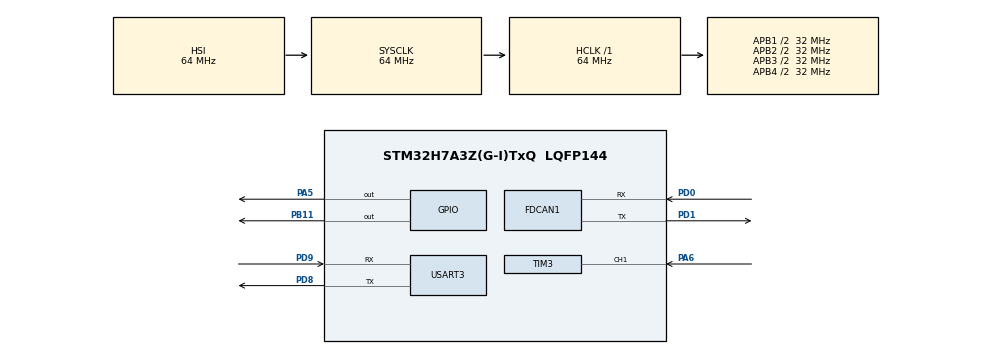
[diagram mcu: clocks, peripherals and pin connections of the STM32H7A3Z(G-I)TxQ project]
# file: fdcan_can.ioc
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FDCAN1.AutoRetransmission=ENABLE
FDCAN1.DataSyncJumpWidth=4
FDCAN1.DataTimeSeg1=5
FDCAN1.DataTimeSeg2=4
FDCAN1.FrameFormat=FDCAN_FRAME_FD_NO_BRS
FDCAN1.NominalTimeSeg1=5
FDCAN1.RxBuffersNbr=1
FDCAN1.RxFifo0ElmtsNbr=1
FDCAN1.StdFiltersNbr=1
Mcu.Family=STM32H7
Mcu.Name=STM32H7A3Z(G-I)TxQ
Mcu.Package=LQFP144
NVIC.FDCAN1_IT0_IRQn=true\:0\:0\:false\:false\:true\:true\:true
NVIC.PriorityGroup=NVIC_PRIORITYGROUP_4
NVIC.TIM3_IRQn=true\:0\:0\:false\:false\:true\:true\:true
PA5.Signal=GPIO_Output
PA6.Signal=S_TIM3_CH1
PB11.Signal=GPIO_Output
PD0.Mode=FDCAN_Activate
PD0.Signal=FDCAN1_RX
PD1.Mode=FDCAN_Activate
PD1.Signal=FDCAN1_TX
PD8.Mode=Asynchronous
PD8.Signal=USART3_TX
PD9.Mode=Asynchronous
PD9.Signal=USART3_RX
PH0-OSC_IN.Mode=HSE-External-Oscillator
PH0-OSC_IN.Signal=RCC_OSC_IN
PH1-OSC_OUT.Mode=HSE-External-Oscillator
PH1-OSC_OUT.Signal=RCC_OSC_OUT
ProjectManager.HeapSize=0x200
ProjectManager.StackSize=0x400
ProjectManager.TargetToolchain=STM32CubeIDE
RCC.ADCFreq_Value=129000000
RCC.APB1Freq_Value=32000000
RCC.APB2Freq_Value=32000000
RCC.APB3Freq_Value=32000000
RCC.APB4Freq_Value=32000000
RCC.CDPPRE=RCC_APB3_DIV2
RCC.CDPPRE1=RCC_APB1_DIV2
RCC.CDPPRE2=RCC_APB2_DIV2
RCC.CortexFreq_Value=64000000
RCC.DIVM1=4
RCC.DIVN1=8
RCC.DIVQ1=32
RCC.HCLKFreq_Value=64000000
RCC.PLLFRACN=0
RCC.SRDPPRE=RCC_APB4_DIV2
RCC.SYSCLKFreq_VALUE=64000000
RCC.USBFreq_Value=4000000
SH.S_TIM3_CH1.0=TIM3_CH1,Input_Capture1_from_TI1
TIM3.Channel-Input_Capture1_from_TI1=TIM_CHANNEL_1
TIM3.Period=0xffff-1
TIM3.Prescaler=64-1
USART3.VirtualMode-Asynchronous=VM_ASYNC
VP_TIM3_VS_ClockSourceINT.Mode=Internal
board=custom

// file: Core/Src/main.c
/* USER CODE BEGIN Header */
/**
  ******************************************************************************
  * @file           : main.c
  * @brief          : Main program body
  ******************************************************************************
  * @attention
  *
  * Copyright (c) 2023 STMicroelectronics.
  * All rights reserved.
  *
  * This software is licensed under terms that can be found in the LICENSE file
  * in the root directory of this software component.
  * If no LICENSE file comes with this software, it is provided AS-IS.
  *
  ******************************************************************************
  */
/* USER CODE END Header */
#include "main.h"
#include "fdcan.h"
#include "tim.h"
#include "usart.h"
#include "gpio.h"

/* USER CODE BEGIN Includes */
#include <stdio.h>
/* USER CODE END Includes */

/* USER CODE BEGIN PD */
#define TRIG_PIN GPIO_PIN_5
#define TRIG_PORT GPIOA
/* USER CODE END PD */

/* USER CODE BEGIN PM */
#ifdef __GNUC__
#define PUTCHAR_PROTOTYPE int __io_putchar(int ch)
#else
#define PUTCHAR_PROTOTYPE int fputc(int ch, FILE *f)
#endif
PUTCHAR_PROTOTYPE{
   HAL_UART_Transmit(&huart3, (uint8_t*)&ch, 1, 0xFFFF);
   return ch;
}
/* USER CODE END PM */

/* USER CODE BEGIN PV */
   FDCAN_FilterTypeDef sFilterConfig;
   FDCAN_TxHeaderTypeDef TxHeader;
   FDCAN_RxHeaderTypeDef RxHeader;
   uint8_t TxData_Node3_To_Node1[8];
   uint8_t TxData_Node3_To_Node2[8];
   uint8_t RxData_From_Node2[8];
   uint8_t RxData_From_Node1[8];
   uint32_t IC_Val1 = 0;
   uint32_t IC_Val2 = 0;
   uint32_t Difference = 0;
   uint8_t Is_First_Captured = 0;
   uint8_t Distance = 0;

/* USER CODE END PV */

void SystemClock_Config(void);
/* USER CODE BEGIN PFP */
void delay (uint16_t time)
{
	__HAL_TIM_SET_COUNTER(&htim3, 0);
	while (__HAL_TIM_GET_COUNTER (&htim3) < time);
}
void HAL_TIM_IC_CaptureCallback(TIM_HandleTypeDef *htim)
{
	if (htim->Channel == HAL_TIM_ACTIVE_CHANNEL_1)  // if the interrupt source is channel1
	{
		if (Is_First_Captured==0) // if the first value is not captured
		{
			IC_Val1 = HAL_TIM_ReadCapturedValue(htim, TIM_CHANNEL_1); // read the first value
			Is_First_Captured = 1;  // set the first captured as true
			// Now change the polarity to falling edge
			__HAL_TIM_SET_CAPTUREPOLARITY(htim, TIM_CHANNEL_1, TIM_INPUTCHANNELPOLARITY_FALLING);
		}

		else if (Is_First_Captured==1)   // if the first is already captured
		{
			IC_Val2 = HAL_TIM_ReadCapturedValue(htim, TIM_CHANNEL_1);  // read second value
			__HAL_TIM_SET_COUNTER(htim, 0);  // reset the counter

			if (IC_Val2 > IC_Val1)//거리 측정
			{
				Difference = IC_Val2-IC_Val1;
			}

			else if (IC_Val1 > IC_Val2)//?��버플로우�????????? 고려?�� 코드
			{
				Difference = (0xffff - IC_Val1) + IC_Val2;
			}

			Distance = Difference * .034/2;//x?��?��?�� cm�????????? ?��?��
			Is_First_Captured = 0; // set it back to false

			// set polarity to rising edge
			__HAL_TIM_SET_CAPTUREPOLARITY(htim, TIM_CHANNEL_1, TIM_INPUTCHANNELPOLARITY_RISING);//rising?���????????? ?��리거
			__HAL_TIM_DISABLE_IT(&htim3, TIM_IT_CC1);
		}
	}
}

void HCSR04_Read (void)
{
	HAL_GPIO_WritePin(TRIG_PORT, TRIG_PIN, GPIO_PIN_SET);  // pull the TRIG pin HIGH
	delay(10);  // wait for 10 us
	HAL_GPIO_WritePin(TRIG_PORT, TRIG_PIN, GPIO_PIN_RESET);  // pull the TRIG pin low

	__HAL_TIM_ENABLE_IT(&htim3, TIM_IT_CC1);
}
/* USER CODE END PFP */

/* USER CODE BEGIN 0 */
int indx1 = 0;
int indx2= 0;
int indx3 = 0;
int indx4 = 0;
void HAL_FDCAN_RxFifo0Callback(FDCAN_HandleTypeDef *hfdcan, uint32_t RxFifo0ITs)
{
//    printf("%s\r\n",);

//    HAL_Delay (1000);
   if(FDCAN1 == hfdcan->Instance){
  if((RxFifo0ITs & FDCAN_IT_RX_FIFO0_NEW_MESSAGE) != RESET)
  {

//       HAL_Delay (1000);
    /* Retreive Rx messages from RX FIFO0 */
     //?  기서?   �???? ? RX FIFO0?   ?  ?   ?  �???? ?? RxHeader ??????? 복사?   ??????? ?  ?  ?   ??????? RxData 배열 ??????? 복사?  ?  ?  .
    if (HAL_FDCAN_GetRxMessage(hfdcan, FDCAN_RX_FIFO0, &RxHeader, RxData_From_Node2) != HAL_OK)
    {
    /* Reception Error */
    Error_Handler();
    }
//    if (HAL_FDCAN_GetRxMessage(hfdcan, FDCAN_RX_FIFO0, &RxHeader, RxData_From_Node2) != HAL_OK)
//        {
//        /* Reception Error */
//        Error_Handler();
//        }
    //그런 ?  ?   ?   메시 ????????   ???   ?  림을 ?  ?   ?  ?  ?  ?  ?  ?  .
    if (HAL_FDCAN_ActivateNotification(hfdcan, FDCAN_IT_RX_FIFO0_NEW_MESSAGE, 0) != HAL_OK)
    {
      /* Notification Error */
      Error_Handler();
    }
    //FDCAN2 콜백 ??????? ?   ??????? ?  기서?   ?  ?  ?   ??????? ?  ?  ?   ??????? ?  ?  ?  ?  . while 루프?  ?   FDCAN1?   ?  ?   매초 ?  ?  ?   ??????? ?  ?  ?   ??????? ?  문입?  ?  .
   }
   }
}

/* USER CODE END 0 */

int main(void)
{

  /* MCU Configuration--------------------------------------------------------*/

  /* Reset of all peripherals, Initializes the Flash interface and the Systick. */
  HAL_Init();

  /* Configure the system clock */
  SystemClock_Config();

  /* Initialize all configured peripherals */
  MX_GPIO_Init();
  MX_FDCAN1_Init();
  MX_USART3_UART_Init();
  MX_TIM3_Init();
  /* USER CODE BEGIN 2 */
  HAL_TIM_IC_Start_IT(&htim3, TIM_CHANNEL_1);
  /* USER CODE END 2 */

  /* Infinite loop */
  /* USER CODE BEGIN WHILE */
  while (1)
  {
//	  printf("%s\r\n",RxData_From_Node1);
//	  HAL_Delay(1000);
//	  if(RxData_From_Node1[0] == '1')
//	  {
//		  HAL_GPIO_WritePin(GPIOB, GPIO_PIN_11, SET);
//		  HAL_Delay(1000);
//		  HAL_GPIO_WritePin(GPIOB, GPIO_PIN_11, RESET);
//		  HAL_Delay(1000);
//	  	  }

//  	  for(int i=0; i<10000; i++)
//  	  {
//  		if(i<10)
//  		{
//  			indx1=i;
//  			indx4=0;
//  			indx3=0;
//  			indx2=0;
//  		}
//  		if(9<i && i<100)
//  		{
//  			indx2=(int)i/10;
//  			indx1=i%10;
//  			indx4=0;
//  			indx3=0;
//  		}
//  		if(99<i && i <1000)
//  		  		{
//  					indx3=((int)i/100)%10;
//  		  			indx2=((int)i/10)%10;
//  		  			indx1= i%10;
//  		  			indx4=0;
//  		  		}
//  		if(999<i && i<10000)
//  		{
//  			indx4=(int)i/1000;
//  		  	indx3=((int)i/100)%10;
//  		  	indx2=((int)i/10)%10;
//  		  	indx1= i%10;
//  		 }
//  		sprintf ((char *)TxData_Node3_To_Node2,"%d",Distance);

	  HCSR04_Read();
	  sprintf ((char *)TxData_Node3_To_Node2,"%d",Distance);
	  if (HAL_FDCAN_AddMessageToTxFifoQ(&hfdcan1, &TxHeader, TxData_Node3_To_Node2)!= HAL_OK)
	  		                           {
	  		                              Error_Handler();
	  		                           }

  		HAL_Delay(500);
  	  }
    /* USER CODE END WHILE */

  }

void SystemClock_Config(void)
{
  RCC_OscInitTypeDef RCC_OscInitStruct = {0};
  RCC_ClkInitTypeDef RCC_ClkInitStruct = {0};

  /** Supply configuration update enable
  */
  HAL_PWREx_ConfigSupply(PWR_DIRECT_SMPS_SUPPLY);
  /** Configure the main internal regulator output voltage
  */
  __HAL_PWR_VOLTAGESCALING_CONFIG(PWR_REGULATOR_VOLTAGE_SCALE3);

  while(!__HAL_PWR_GET_FLAG(PWR_FLAG_VOSRDY)) {}
  /** Initializes the RCC Oscillators according to the specified parameters
  * in the RCC_OscInitTypeDef structure.
  */
  RCC_OscInitStruct.OscillatorType = RCC_OSCILLATORTYPE_HSI;
  RCC_OscInitStruct.HSIState = RCC_HSI_DIV1;
  RCC_OscInitStruct.HSICalibrationValue = RCC_HSICALIBRATION_DEFAULT;
  RCC_OscInitStruct.PLL.PLLState = RCC_PLL_ON;
  RCC_OscInitStruct.PLL.PLLSource = RCC_PLLSOURCE_HSI;
  RCC_OscInitStruct.PLL.PLLM = 4;
  RCC_OscInitStruct.PLL.PLLN = 8;
  RCC_OscInitStruct.PLL.PLLP = 2;
  RCC_OscInitStruct.PLL.PLLQ = 32;
  RCC_OscInitStruct.PLL.PLLR = 2;
  RCC_OscInitStruct.PLL.PLLRGE = RCC_PLL1VCIRANGE_3;
  RCC_OscInitStruct.PLL.PLLVCOSEL = RCC_PLL1VCOWIDE;
  RCC_OscInitStruct.PLL.PLLFRACN = 0;
  if (HAL_RCC_OscConfig(&RCC_OscInitStruct) != HAL_OK)
  {
    Error_Handler();
  }
  /** Initializes the CPU, AHB and APB buses clocks
  */
  RCC_ClkInitStruct.ClockType = RCC_CLOCKTYPE_HCLK|RCC_CLOCKTYPE_SYSCLK
                              |RCC_CLOCKTYPE_PCLK1|RCC_CLOCKTYPE_PCLK2
                              |RCC_CLOCKTYPE_D3PCLK1|RCC_CLOCKTYPE_D1PCLK1;
  RCC_ClkInitStruct.SYSCLKSource = RCC_SYSCLKSOURCE_HSI;
  RCC_ClkInitStruct.SYSCLKDivider = RCC_SYSCLK_DIV1;
  RCC_ClkInitStruct.AHBCLKDivider = RCC_HCLK_DIV1;
  RCC_ClkInitStruct.APB3CLKDivider = RCC_APB3_DIV2;
  RCC_ClkInitStruct.APB1CLKDivider = RCC_APB1_DIV2;
  RCC_ClkInitStruct.APB2CLKDivider = RCC_APB2_DIV2;
  RCC_ClkInitStruct.APB4CLKDivider = RCC_APB4_DIV2;

  if (HAL_RCC_ClockConfig(&RCC_ClkInitStruct, FLASH_LATENCY_2) != HAL_OK)
  {
    Error_Handler();
  }
}

void Error_Handler(void)
{
  __disable_irq();
  while (1)
  {
  }
}
